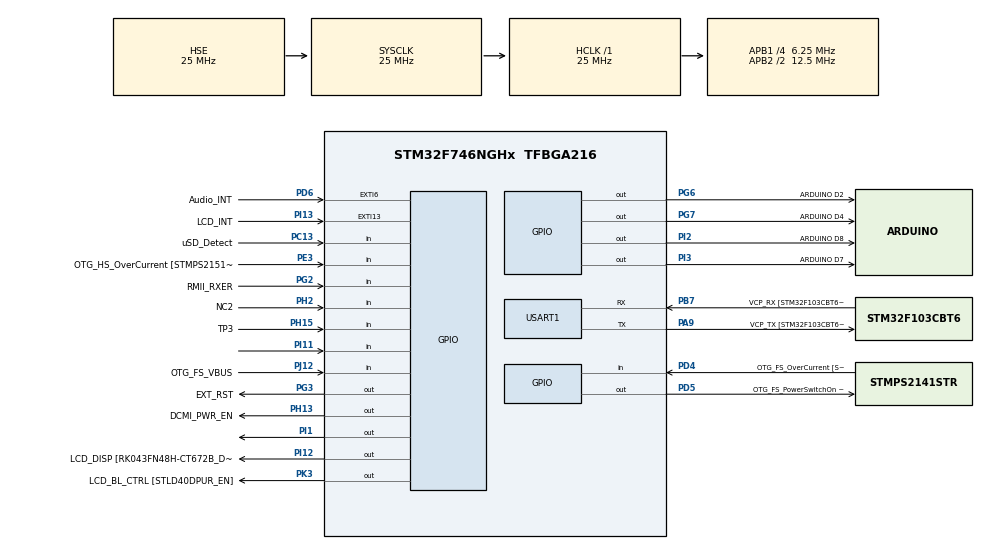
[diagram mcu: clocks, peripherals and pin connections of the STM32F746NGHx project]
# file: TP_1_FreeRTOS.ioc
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FREERTOS.Tasks01=defaultTask,0,256,StartDefaultTask,Default,NULL,Dynamic,NULL,NULL
FREERTOS.configTOTAL_HEAP_SIZE=15400
FREERTOS.configUSE_PREEMPTION=1
Mcu.Family=STM32F7
Mcu.Name=STM32F746NGHx
Mcu.Package=TFBGA216
NVIC.PriorityGroup=NVIC_PRIORITYGROUP_4
NVIC.USART1_IRQn=true\:5\:0\:false\:false\:true\:true\:true\:true\:true
PA0/WKUP.GPIO_Label=ARDUINO A0
PA0/WKUP.GPIO_Mode=GPIO_MODE_ANALOG
PA0/WKUP.GPIO_PuPd=GPIO_NOPULL
PA0/WKUP.Signal=ADCx_IN0
PA1.GPIO_Label=RMII_REF_CLK [LAN8742A-CZ-TR_REFCLK0]
PA1.Signal=ETH_REF_CLK
PA10.GPIO_Label=OTG_FS_ID
PA10.Signal=USB_OTG_FS_ID
PA11.GPIO_Label=OTG_FS_N
PA11.Signal=USB_OTG_FS_DM
PA12.GPIO_Label=OTG_FS_P
PA12.Signal=USB_OTG_FS_DP
PA13.GPIO_Label=SWDIO
PA13.Signal=SYS_JTMS-SWDIO
PA14.GPIO_Label=SWCLK
PA14.Signal=SYS_JTCK-SWCLK
PA15.GPIO_Label=ARDUINO PWM/D9
PA15.GPIO_ModeDefaultPP=GPIO_MODE_AF_PP
PA15.GPIO_PuPd=GPIO_NOPULL
PA15.GPIO_Speed=GPIO_SPEED_FREQ_LOW
PA15.Signal=S_TIM2_CH1_ETR
PA2.GPIO_Label=RMII_MDIO [LAN8742A-CZ-TR_MDIO]
PA2.Signal=ETH_MDIO
PA3.GPIO_Label=ULPI_D0 [USB3320C-EZK_D0]
PA3.Signal=USB_OTG_HS_ULPI_D0
PA4.GPIO_Label=DCMI_HSYNC
PA4.Signal=DCMI_HSYNC
PA5.GPIO_Label=ULPI_CLK [USB3320C-EZK_CLKOUT]
PA5.Signal=USB_OTG_HS_ULPI_CK
PA6.Signal=DCMI_PIXCLK
PA7.GPIO_Label=RMII_CRS_DV [LAN8742A-CZ-TR_CRS_DV]
PA7.Signal=ETH_CRS_DV
PA8.GPIO_Label=ARDUINO PWM/D10
PA8.GPIO_ModeDefaultPP=GPIO_MODE_AF_PP
PA8.GPIO_PuPd=GPIO_NOPULL
PA8.GPIO_Speed=GPIO_SPEED_FREQ_LOW
PA8.Signal=S_TIM1_CH1
PA9.GPIO_Label=VCP_TX [STM32F103CBT6_PA3]
PA9.GPIO_Mode=GPIO_MODE_AF_PP
PA9.GPIO_PuPd=GPIO_NOPULL
PA9.GPIO_Speed=GPIO_SPEED_FREQ_LOW
PA9.Mode=Asynchronous
PA9.Signal=USART1_TX
PB0.GPIO_Label=ULPI_D1 [USB3320C-EZK_D1]
PB0.Signal=USB_OTG_HS_ULPI_D1
PB1.GPIO_Label=ULPI_D2 [USB3320C-EZK_D2]
PB1.Signal=USB_OTG_HS_ULPI_D2
PB10.GPIO_Label=ULPI_D3 [USB3320C-EZK_D3]
PB10.Signal=USB_OTG_HS_ULPI_D3
PB11.GPIO_Label=ULPI_D4 [USB3320C-EZK_D4]
PB11.Signal=USB_OTG_HS_ULPI_D4
PB12.GPIO_Label=ULPI_D5 [USB3320C-EZK_D5]
PB12.Signal=USB_OTG_HS_ULPI_D5
PB13.GPIO_Label=ULPI_D6 [USB3320C-EZK_D6]
PB13.Signal=USB_OTG_HS_ULPI_D6
PB14.GPIO_Label=ARDUINO MISO/D12
PB14.GPIO_Mode=GPIO_MODE_AF_PP
PB14.GPIO_PuPd=GPIO_NOPULL
PB14.GPIO_Speed=GPIO_SPEED_FREQ_LOW
PB14.Signal=SPI2_MISO
PB15.GPIO_Label=ARDUINO MOSI/PWM/D11
PB15.GPIO_Mode=GPIO_MODE_AF_PP
PB15.GPIO_PuPd=GPIO_NOPULL
PB15.GPIO_Speed=GPIO_SPEED_FREQ_LOW
PB15.Signal=SPI2_MOSI
PB2.Signal=QUADSPI_CLK
PB3.GPIO_Label=SWO
PB3.Signal=SYS_JTDO-SWO
PB4.GPIO_Label=ARDUINO PWM/D3
PB4.GPIO_ModeDefaultPP=GPIO_MODE_AF_PP
PB4.GPIO_PuPd=GPIO_NOPULL
PB4.GPIO_Speed=GPIO_SPEED_FREQ_LOW
PB4.Signal=S_TIM3_CH1
PB5.GPIO_Label=ULPI_D7 [USB3320C-EZK_D7]
PB5.Signal=USB_OTG_HS_ULPI_D7
PB6.GPIO_Label=QSPI_NCS [N25Q128A13EF840E_S]
PB6.Signal=QUADSPI_BK1_NCS
PB7.GPIO_Label=VCP_RX [STM32F103CBT6_PA2]
PB7.GPIO_Mode=GPIO_MODE_AF_PP
PB7.GPIO_PuPd=GPIO_NOPULL
PB7.GPIO_Speed=GPIO_SPEED_FREQ_LOW
PB7.Mode=Asynchronous
PB7.Signal=USART1_RX
PB8.GPIO_Label=ARDUINO SCL/D15
PB8.GPIO_Mode=GPIO_MODE_AF_OD
PB8.GPIO_PuPd=GPIO_NOPULL
PB8.GPIO_Speed=GPIO_SPEED_FREQ_LOW
PB8.Signal=I2C1_SCL
PB9.GPIO_Label=ARDUINO SDA/D14
PB9.GPIO_Mode=GPIO_MODE_AF_OD
PB9.GPIO_PuPd=GPIO_NOPULL
PB9.GPIO_Speed=GPIO_SPEED_FREQ_LOW
PB9.Signal=I2C1_SDA
PC0.GPIO_Label=ULPI_STP [USB3320C-EZK_STP]
PC0.Signal=USB_OTG_HS_ULPI_STP
PC1.GPIO_Label=RMII_MDC [LAN8742A-CZ-TR_MDC]
PC1.Signal=ETH_MDC
PC10.GPIO_Label=SDMMC_D2
PC10.Signal=SDMMC1_D2
PC11.GPIO_Label=SDMMC_D3
PC11.Signal=SDMMC1_D3
PC12.GPIO_Label=SDMMC_CK
PC12.Signal=SDMMC1_CK
PC13.GPIO_Label=uSD_Detect
PC13.Signal=GPIO_Input
PC14/OSC32_IN.GPIO_Label=RCC_OSC32_IN
PC14/OSC32_IN.Signal=RCC_OSC32_IN
PC15/OSC32_OUT.GPIO_Label=RCC_OSC32_OUT
PC15/OSC32_OUT.Signal=RCC_OSC32_OUT
PC2.GPIO_Label=ULPI_DIR [USB3320C-EZK_DIR]
PC2.Signal=USB_OTG_HS_ULPI_DIR
PC3.GPIO_Label=FMC_SDCKE0 [MT48LC4M32B2B5-6A_CKE]
PC3.Signal=FMC_SDCKE0
PC4.GPIO_Label=RMII_RXD0 [LAN8742A-CZ-TR_RXD0]
PC4.Signal=ETH_RXD0
PC5.GPIO_Label=RMII_RXD1 [LAN8742A-CZ-TR_RXD1]
PC5.Signal=ETH_RXD1
PC6.GPIO_Label=ARDUINO TX/D1
PC6.Signal=USART6_TX
PC7.GPIO_Label=ARDUINO RX/D0
PC7.Signal=USART6_RX
PC8.Signal=SDMMC1_D0
PC9.Signal=SDMMC1_D1
PD0.GPIO_Label=FMC_D2 [MT48LC4M32B2B5-6A_DQ2]
PD0.Signal=FMC_D2_DA2
PD1.GPIO_Label=FMC_D3 [MT48LC4M32B2B5-6A_DQ3]
PD1.Signal=FMC_D3_DA3
PD10.GPIO_Label=FMC_D15 [MT48LC4M32B2B5-6A_DQ15]
PD10.Signal=FMC_D15_DA15
PD11.GPIO_Label=QSPI_D0 [N25Q128A13EF840E_DQ0]
PD11.Signal=QUADSPI_BK1_IO0
PD12.GPIO_Label=QSPI_D1 [N25Q128A13EF840E_DQ1]
PD12.Signal=QUADSPI_BK1_IO1
PD13.GPIO_Label=QSPI_D3 [N25Q128A13EF840E_DQ3]
PD13.Signal=QUADSPI_BK1_IO3
PD14.GPIO_Label=FMC_D0 [MT48LC4M32B2B5-6A_DQ0]
PD14.Signal=FMC_D0_DA0
PD15.GPIO_Label=FMC_D1 [MT48LC4M32B2B5-6A_DQ1]
PD15.Signal=FMC_D1_DA1
PD2.GPIO_Label=SDMMC_D0
PD2.Signal=SDMMC1_CMD
PD3.GPIO_Label=DCMI_D5
PD3.Signal=DCMI_D5
PD4.GPIO_Label=OTG_FS_OverCurrent [STMPS2141STR_Fault]
PD4.Signal=GPIO_Input
PD5.GPIO_Label=OTG_FS_PowerSwitchOn [STMPS2141STR_EN]
PD5.PinState=GPIO_PIN_SET
PD5.Signal=GPIO_Output
PD6.GPIO_Label=Audio_INT
PD6.GPIO_ModeDefaultEXTI=GPIO_MODE_EVT_RISING
PD6.Signal=GPXTI6
PD7.GPIO_Label=SPDIF_RX0 [74LVC1G04SE_4]
PD7.Signal=SPDIFRX_IN0
PD8.GPIO_Label=FMC_D13 [MT48LC4M32B2B5-6A_DQ13]
PD8.Signal=FMC_D13_DA13
PD9.GPIO_Label=FMC_D14 [MT48LC4M32B2B5-6A_DQ14]
PD9.Signal=FMC_D14_DA14
PE0.GPIO_Label=FMC_NBL0 [MT48LC4M32B2B5-6A_DQM0]
PE0.Signal=FMC_NBL0
PE1.GPIO_Label=FMC_NBL1 [MT48LC4M32B2B5-6A_DQM1]
PE1.Signal=FMC_NBL1
PE10.GPIO_Label=FMC_D7 [MT48LC4M32B2B5-6A_DQ7]
PE10.Signal=FMC_D7_DA7
PE11.GPIO_Label=FMC_D8 [MT48LC4M32B2B5-6A_DQ8]
PE11.Signal=FMC_D8_DA8
PE12.GPIO_Label=FMC_D9 [MT48LC4M32B2B5-6A_DQ9]
PE12.Signal=FMC_D9_DA9
PE13.GPIO_Label=FMC_D10 [MT48LC4M32B2B5-6A_DQ10]
PE13.Signal=FMC_D10_DA10
PE14.GPIO_Label=FMC_D11 [MT48LC4M32B2B5-6A_DQ11]
PE14.Signal=FMC_D11_DA11
PE15.GPIO_Label=FMC_D12 [MT48LC4M32B2B5-6A_DQ12]
PE15.Signal=FMC_D12_DA12
PE2.GPIO_Label=QSPI_D2 [N25Q128A13EF840E_DQ2]
PE2.Signal=QUADSPI_BK1_IO2
PE3.GPIO_Label=OTG_HS_OverCurrent [STMPS2151STR_FAULT]
PE3.Signal=GPIO_Input
PE4.GPIO_Label=LCD_B0 [RK043FN48H-CT672B_B0]
PE4.Signal=LTDC_B0
PE5.GPIO_Label=DCMI_D6
PE5.Signal=DCMI_D6
PE6.GPIO_Label=DCMI_D7
PE6.Signal=DCMI_D7
PE7.GPIO_Label=FMC_D4 [MT48LC4M32B2B5-6A_DQ4]
PE7.Signal=FMC_D4_DA4
PE8.GPIO_Label=FMC_D5 [MT48LC4M32B2B5-6A_DQ5]
PE8.Signal=FMC_D5_DA5
PE9.GPIO_Label=FMC_D6 [MT48LC4M32B2B5-6A_DQ6]
PE9.Signal=FMC_D6_DA6
PF0.GPIO_Label=FMC_A0 [MT48LC4M32B2B5-6A_A0]
PF0.Signal=FMC_A0
PF1.GPIO_Label=FMC_A1 [MT48LC4M32B2B5-6A_A1]
PF1.Signal=FMC_A1
PF10.GPIO_Label=ARDUINO A1
PF10.GPIO_Mode=GPIO_MODE_ANALOG
PF10.GPIO_PuPd=GPIO_NOPULL
PF10.Signal=ADC3_IN8
PF11.GPIO_Label=FMC_SDNRAS [MT48LC4M32B2B5-6A_RAS]
PF11.Signal=FMC_SDNRAS
PF12.GPIO_Label=FMC_A6 [MT48LC4M32B2B5-6A_A6]
PF12.Signal=FMC_A6
PF13.GPIO_Label=FMC_A7 [MT48LC4M32B2B5-6A_A7]
PF13.Signal=FMC_A7
PF14.GPIO_Label=FMC_A8 [MT48LC4M32B2B5-6A_A8]
PF14.Signal=FMC_A8
PF15.GPIO_Label=FMC_A9 [MT48LC4M32B2B5-6A_A9]
PF15.Signal=FMC_A9
PF2.GPIO_Label=FMC_A2 [MT48LC4M32B2B5-6A_A2]
PF2.Signal=FMC_A2
PF3.GPIO_Label=FMC_A3 [MT48LC4M32B2B5-6A_A3]
PF3.Signal=FMC_A3
PF4.GPIO_Label=FMC_A4 [MT48LC4M32B2B5-6A_A4]
PF4.Signal=FMC_A4
PF5.GPIO_Label=FMC_A5 [MT48LC4M32B2B5-6A_A5]
PF5.Signal=FMC_A5
PF6.GPIO_Label=ARDUINO A5
PF6.GPIO_Mode=GPIO_MODE_ANALOG
PF6.GPIO_PuPd=GPIO_NOPULL
PF6.Signal=ADC3_IN4
PF7.GPIO_Label=ARDUINO A4
PF7.GPIO_Mode=GPIO_MODE_ANALOG
PF7.GPIO_PuPd=GPIO_NOPULL
PF7.Signal=ADC3_IN5
PF8.GPIO_Label=ARDUINO A3
PF8.GPIO_Mode=GPIO_MODE_ANALOG
PF8.GPIO_PuPd=GPIO_NOPULL
PF8.Signal=ADC3_IN6
PF9.GPIO_Label=ARDUINO A2
PF9.GPIO_Mode=GPIO_MODE_ANALOG
PF9.GPIO_PuPd=GPIO_NOPULL
PF9.Signal=ADC3_IN7
PG0.GPIO_Label=FMC_A10 [MT48LC4M32B2B5-6A_A10]
PG0.Signal=FMC_A10
PG1.GPIO_Label=FMC_A11 [MT48LC4M32B2B5-6A_A11]
PG1.Signal=FMC_A11
PG10.GPIO_Label=SAI2_SDB [WM8994ECS/R_ADCDAT1]
PG10.Signal=SAI2_SD_B
PG11.GPIO_Label=RMII_TX_EN [LAN8742A-CZ-TR_TXEN]
PG11.Signal=ETH_TX_EN
PG12.GPIO_Label=LCD_B4 [RK043FN48H-CT672B_B4]
PG12.Signal=LTDC_B4
PG13.GPIO_Label=RMII_TXD0 [LAN8742A-CZ-TR_TXD0]
PG13.Signal=ETH_TXD0
PG14.GPIO_Label=RMII_TXD1 [LAN8742A-CZ-TR_TXD1]
PG14.Signal=ETH_TXD1
PG15.GPIO_Label=FMC_SDNCAS [MT48LC4M32B2B5-6A_CAS]
PG15.Signal=FMC_SDNCAS
PG2.GPIO_Label=RMII_RXER
PG2.Signal=GPIO_Input
PG3.GPIO_Label=EXT_RST
PG3.Signal=GPIO_Output
PG4.GPIO_Label=FMC_BA0 [MT48LC4M32B2B5-6A_BA0]
PG4.Signal=FMC_A14_BA0
PG5.GPIO_Label=FMC_BA1 [MT48LC4M32B2B5-6A_BA1]
PG5.Signal=FMC_A15_BA1
PG6.GPIO_Label=ARDUINO D2
PG6.Signal=GPIO_Output
PG7.GPIO_Label=ARDUINO D4
PG7.Signal=GPIO_Output
PG8.GPIO_Label=FMC_SDCLK [MT48LC4M32B2B5-6A_CLK]
PG8.Signal=FMC_SDCLK
PG9.GPIO_Label=DCMI_VSYNC
PG9.Signal=DCMI_VSYNC
PH0/OSC_IN.GPIO_Label=OSC_25M [NZ2520SB-25.00M_OUT]
PH0/OSC_IN.Mode=HSE-External-Oscillator
PH0/OSC_IN.Signal=RCC_OSC_IN
PH1/OSC_OUT.Mode=HSE-External-Oscillator
PH1/OSC_OUT.Signal=RCC_OSC_OUT
PH10.GPIO_Label=DCMI_D1
PH10.Signal=DCMI_D1
PH11.GPIO_Label=DCMI_D2
PH11.Signal=DCMI_D2
PH12.GPIO_Label=DCMI_D3
PH12.Signal=DCMI_D3
PH13.GPIO_Label=DCMI_PWR_EN
PH13.Signal=GPIO_Output
PH14.GPIO_Label=DCMI_D4
PH14.Signal=DCMI_D4
PH15.GPIO_Label=TP3
PH15.Signal=GPIO_Input
PH2.GPIO_Label=NC2
PH2.Signal=GPIO_Input
PH3.GPIO_Label=FMC_SDNE0 [MT48LC4M32B2B5-6A_CS]
PH3.Signal=FMC_SDNE0
PH4.GPIO_Label=ULPI_NXT [USB3320C-EZK_NXT]
PH4.Signal=USB_OTG_HS_ULPI_NXT
PH5.GPIO_Label=FMC_SDNME [MT48LC4M32B2B5-6A_WE]
PH5.Signal=FMC_SDNWE
PH6.GPIO_Label=ARDUINO PWM/D6
PH6.Signal=S_TIM12_CH1
PH7.GPIO_Label=LCD_SCL [RK043FN48H-CT672B_SCL]
PH7.Signal=I2C3_SCL
PH8.GPIO_Label=LCD_SDA [RK043FN48H-CT672B_SDA]
PH8.Signal=I2C3_SDA
PH9.GPIO_Label=DCMI_D0
PH9.Signal=DCMI_D0
PI0.GPIO_Label=ARDUINO PWM/CS/D5
PI0.GPIO_ModeDefaultPP=GPIO_MODE_AF_PP
PI0.GPIO_PuPd=GPIO_NOPULL
PI0.GPIO_Speed=GPIO_SPEED_FREQ_LOW
PI0.Signal=S_TIM5_CH4
PI1.Signal=GPIO_Output
PI10.GPIO_Label=LCD_HSYNC [RK043FN48H-CT672B_HSYNC]
PI10.Signal=LTDC_HSYNC
PI11.Signal=GPIO_Input
PI12.GPIO_Label=LCD_DISP [RK043FN48H-CT672B_DISP] 
PI12.Signal=GPIO_Output
PI13.GPIO_Label=LCD_INT
PI13.GPIO_ModeDefaultEXTI=GPIO_MODE_EVT_RISING
PI13.Signal=GPXTI13
PI14.GPIO_Label=LCD_CLK [RK043FN48H-CT672B_CLK]
PI14.Signal=LTDC_CLK
PI15.GPIO_Label=LCD_R0 [RK043FN48H-CT672B_R0]
PI15.Signal=LTDC_R0
PI2.GPIO_Label=ARDUINO D8
PI2.Signal=GPIO_Output
PI3.GPIO_Label=ARDUINO D7
PI3.Signal=GPIO_Output
PI4.GPIO_Label=SAI2_MCLKA [WM8994ECS/R_MCLK1]
PI4.Signal=SAI2_MCLK_A
PI5.GPIO_Label=SAI2_SCKA [WM8994ECS/R_BCLK1]
PI5.Signal=SAI2_SCK_A
PI6.GPIO_Label=SAI2_SDA [WM8994ECS/R_DACDAT1]
PI6.Signal=SAI2_SD_A
PI7.GPIO_Label=SAI2_FSA [WM8994ECS/R_LRCLK1]
PI7.Signal=SAI2_FS_A
PI8.GPIO_Label=NC1 [TP2]
PI8.Signal=RTC_TS
PI9.GPIO_Label=LCD_VSYNC [RK043FN48H-CT672B_VSYNC]
PI9.Signal=LTDC_VSYNC
PJ0.GPIO_Label=LCD_R1 [RK043FN48H-CT672B_R1]
PJ0.Signal=LTDC_R1
PJ1.GPIO_Label=LCD_R2 [RK043FN48H-CT672B_R2]
PJ1.Signal=LTDC_R2
PJ10.GPIO_Label=LCD_G3 [RK043FN48H-CT672B_G3]
PJ10.Signal=LTDC_G3
PJ11.GPIO_Label=LCD_G4 [RK043FN48H-CT672B_G4]
PJ11.Signal=LTDC_G4
PJ12.GPIO_Label=OTG_FS_VBUS
PJ12.Signal=GPIO_Input
PJ13.GPIO_Label=LCD_B1 [RK043FN48H-CT672B_B1]
PJ13.Signal=LTDC_B1
PJ14.GPIO_Label=LCD_B2 [RK043FN48H-CT672B_B2]
PJ14.Signal=LTDC_B2
PJ15.GPIO_Label=LCD_B3 [RK043FN48H-CT672B_B3]
PJ15.Signal=LTDC_B3
PJ2.GPIO_Label=LCD_R3 [RK043FN48H-CT672B_R3]
PJ2.Signal=LTDC_R3
PJ3.GPIO_Label=LCD_R4 [RK043FN48H-CT672B_R4]
PJ3.Signal=LTDC_R4
PJ4.GPIO_Label=LCD_R5 [RK043FN48H-CT672B_R5]
PJ4.Signal=LTDC_R5
PJ5.GPIO_Label=LCD_R6 [RK043FN48H-CT672B_R6]
PJ5.Signal=LTDC_R6
PJ6.GPIO_Label=LCD_R7 [RK043FN48H-CT672B_R7]
PJ6.Signal=LTDC_R7
PJ7.GPIO_Label=LCD_G0 [RK043FN48H-CT672B_G0]
PJ7.Signal=LTDC_G0
PJ8.GPIO_Label=LCD_G1 [RK043FN48H-CT672B_G1]
PJ8.Signal=LTDC_G1
PJ9.GPIO_Label=LCD_G2 [RK043FN48H-CT672B_G2]
PJ9.Signal=LTDC_G2
PK0.GPIO_Label=LCD_G5 [RK043FN48H-CT672B_G5]
PK0.Signal=LTDC_G5
PK1.GPIO_Label=LCD_G6 [RK043FN48H-CT672B_G6]
PK1.Signal=LTDC_G6
PK2.GPIO_Label=LCD_G7 [RK043FN48H-CT672B_G7]
PK2.Signal=LTDC_G7
PK3.GPIO_Label=LCD_BL_CTRL [STLD40DPUR_EN]
PK3.Signal=GPIO_Output
PK4.GPIO_Label=LCD_B5 [RK043FN48H-CT672B_B5]
PK4.Signal=LTDC_B5
PK5.GPIO_Label=LCD_B6 [RK043FN48H-CT672B_B6]
PK5.Signal=LTDC_B6
PK6.GPIO_Label=LCD_B7 [RK043FN48H-CT672B_B7]
PK6.Signal=LTDC_B7
PK7.GPIO_Label=LCD_DE [RK043FN48H-CT672B_DE]
PK7.Signal=LTDC_DE
ProjectManager.HeapSize=0x200
ProjectManager.StackSize=0x400
ProjectManager.TargetToolchain=CMake
RCC.AHBFreq_Value=25000000
RCC.APB1CLKDivider=RCC_HCLK_DIV4
RCC.APB1Freq_Value=6250000
RCC.APB1TimFreq_Value=12500000
RCC.APB2CLKDivider=RCC_HCLK_DIV2
RCC.APB2Freq_Value=12500000
RCC.APB2TimFreq_Value=25000000
RCC.CortexFreq_Value=25000000
RCC.HCLKFreq_Value=25000000
RCC.HSE_VALUE=25000000
RCC.HSI_VALUE=16000000
RCC.LSE_VALUE=32768
RCC.PLLM=10
RCC.PLLN=210
RCC.PLLSourceVirtual=RCC_PLLSOURCE_HSE
RCC.SYSCLKFreq_VALUE=25000000
RCC.SYSCLKSource=RCC_SYSCLKSOURCE_HSE
RCC.USBFreq_Value=262500000
RCC.VCOOutputFreq_Value=525000000
SH.ADCx_IN0.0=ADC3_IN0
SH.FMC_A0.0=FMC_A0
SH.FMC_A1.0=FMC_A1
SH.FMC_A10.0=FMC_A10
SH.FMC_A11.0=FMC_A11
SH.FMC_A14_BA0.0=FMC_BA0
SH.FMC_A15_BA1.0=FMC_BA1
SH.FMC_A2.0=FMC_A2
SH.FMC_A3.0=FMC_A3
SH.FMC_A4.0=FMC_A4
SH.FMC_A5.0=FMC_A5
SH.FMC_A6.0=FMC_A6
SH.FMC_A7.0=FMC_A7
SH.FMC_A8.0=FMC_A8
SH.FMC_A9.0=FMC_A9
SH.FMC_D0_DA0.0=FMC_D0
SH.FMC_D10_DA10.0=FMC_D10
SH.FMC_D11_DA11.0=FMC_D11
SH.FMC_D12_DA12.0=FMC_D12
SH.FMC_D13_DA13.0=FMC_D13
SH.FMC_D14_DA14.0=FMC_D14
SH.FMC_D15_DA15.0=FMC_D15
SH.FMC_D1_DA1.0=FMC_D1
SH.FMC_D2_DA2.0=FMC_D2
SH.FMC_D3_DA3.0=FMC_D3
SH.FMC_D4_DA4.0=FMC_D4
SH.FMC_D5_DA5.0=FMC_D5
SH.FMC_D6_DA6.0=FMC_D6
SH.FMC_D7_DA7.0=FMC_D7
SH.FMC_D8_DA8.0=FMC_D8
SH.FMC_D9_DA9.0=FMC_D9
SH.FMC_NBL0.0=FMC_NBL0
SH.FMC_NBL1.0=FMC_NBL1
SH.FMC_SDCLK.0=FMC_SDCLK
SH.FMC_SDNCAS.0=FMC_SDNCAS
SH.FMC_SDNRAS.0=FMC_SDNRAS
SH.FMC_SDNWE.0=FMC_SDNWE
SH.S_TIM12_CH1.0=TIM12_CH1
SH.S_TIM1_CH1.0=TIM1_CH1
SH.S_TIM2_CH1_ETR.0=TIM2_CH1
SH.S_TIM3_CH1.0=TIM3_CH1
SH.S_TIM5_CH4.0=TIM5_CH4
USART1.VirtualMode-Asynchronous=VM_ASYNC
VP_FREERTOS_VS_CMSIS_V1.Mode=CMSIS_V1
board=STM32F746G-DISCO

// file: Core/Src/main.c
/* USER CODE BEGIN Header */
/**
  ******************************************************************************
  * @file           : main.c
  * @brief          : Main program body
  ******************************************************************************
  * @attention
  *
  * Copyright (c) 2026 STMicroelectronics.
  * All rights reserved.
  *
  * This software is licensed under terms that can be found in the LICENSE file
  * in the root directory of this software component.
  * If no LICENSE file comes with this software, it is provided AS-IS.
  *
  ******************************************************************************
  */
/* USER CODE END Header */
#include "main.h"
#include "cmsis_os.h"
#include "usart.h"
#include "gpio.h"

/* USER CODE BEGIN Includes */
#include <stdio.h>
#include <string.h>
#include "FreeRTOS.h"
#include "task.h"
#include "semphr.h"
#include "shell.h"

#define STACK_SIZE 256
#define TASK1_PRIORITY 1
#define TASK2_PRIORITY 2
#define TASK1_DELAY 1
#define TASK2_DELAY 2
#define SPAM_MSG_SIZE 64
/* USER CODE END Includes */

/* USER CODE BEGIN PV */

// SemaphoreHandle_t xSemaphore = NULL;

//TaskHandle_t taskTakeHandle = NULL;

// QueueHandle_t xQueue = NULL;

QueueHandle_t shellQueue;

SemaphoreHandle_t xPrintMutex;

uint32_t led_period = 0;

TaskHandle_t ledTaskHandle = NULL;

BaseType_t ret;

char spam_msg[SPAM_MSG_SIZE];
uint32_t spam_count = 0;

/* USER CODE END PV */

void SystemClock_Config(void);
void MX_FREERTOS_Init(void);

/* USER CODE BEGIN 0 */
int __io_putchar(int ch) {
	HAL_UART_Transmit(&huart1, (uint8_t *)&ch, 1, HAL_MAX_DELAY);
	return ch;
}

void led_task(void *arg)
{

//Suspend() et resume()

    for (;;)
    {
        if (led_period == 0)
        {
            HAL_GPIO_WritePin(GPIOI, GPIO_PIN_1, GPIO_PIN_RESET);
            vTaskDelay(10);
        }
        else
        {
            HAL_GPIO_TogglePin(GPIOI, GPIO_PIN_1);
            vTaskDelay(pdMS_TO_TICKS(led_period));
        }
    }
}

void spam_task(void *arg)
{
    for (;;)
    {
        if (spam_count > 0)
        {
            xSemaphoreTake(xPrintMutex, portMAX_DELAY);
            printf("%s\r\n", spam_msg);
            xSemaphoreGive(xPrintMutex);

            spam_count--;
        }

        /* Période d'émission (ex: capteur) */
        vTaskDelay(pdMS_TO_TICKS(200));
    }
}

/* USER CODE END 0 */

int main(void)
{

  /* MCU Configuration--------------------------------------------------------*/

  /* Reset of all peripherals, Initializes the Flash interface and the Systick. */
  HAL_Init();

  /* Configure the system clock */
  SystemClock_Config();

  /* Initialize all configured peripherals */
  MX_GPIO_Init();
  MX_USART1_UART_Init();
  /* USER CODE BEGIN 2 */
  __HAL_UART_ENABLE_IT(&huart1, UART_IT_RXNE);

  //Mutex :

  xPrintMutex = xSemaphoreCreateMutex();
  configASSERT(xPrintMutex != NULL);

  shellQueue = xQueueCreate(64, sizeof(char));
  configASSERT(shellQueue != NULL);

  shell_init();

  // tasks :
   xTaskCreate(shell_task, "shell", 512, NULL, 3, NULL);

   xTaskCreate(led_task, "led", 256, NULL, 2, &ledTaskHandle);

   xTaskCreate(spam_task, "spam", 256, NULL, 2, NULL);

   vTaskStartScheduler();
  /* USER CODE END 2 */

  /* Call init function for freertos objects (in cmsis_os2.c) */
 // MX_FREERTOS_Init();

  /* Start scheduler */
 // osKernelStart();

  /* We should never get here as control is now taken by the scheduler */

  /* Infinite loop */
  while (1)
  {

  }
}

void SystemClock_Config(void)
{
  RCC_OscInitTypeDef RCC_OscInitStruct = {0};
  RCC_ClkInitTypeDef RCC_ClkInitStruct = {0};

  /** Configure the main internal regulator output voltage
  */
  __HAL_RCC_PWR_CLK_ENABLE();
  __HAL_PWR_VOLTAGESCALING_CONFIG(PWR_REGULATOR_VOLTAGE_SCALE3);

  /** Initializes the RCC Oscillators according to the specified parameters
  * in the RCC_OscInitTypeDef structure.
  */
  RCC_OscInitStruct.OscillatorType = RCC_OSCILLATORTYPE_HSE;
  RCC_OscInitStruct.HSEState = RCC_HSE_ON;
  RCC_OscInitStruct.PLL.PLLState = RCC_PLL_NONE;
  if (HAL_RCC_OscConfig(&RCC_OscInitStruct) != HAL_OK)
  {
    Error_Handler();
  }

  /** Initializes the CPU, AHB and APB buses clocks
  */
  RCC_ClkInitStruct.ClockType = RCC_CLOCKTYPE_HCLK|RCC_CLOCKTYPE_SYSCLK
                              |RCC_CLOCKTYPE_PCLK1|RCC_CLOCKTYPE_PCLK2;
  RCC_ClkInitStruct.SYSCLKSource = RCC_SYSCLKSOURCE_HSE;
  RCC_ClkInitStruct.AHBCLKDivider = RCC_SYSCLK_DIV1;
  RCC_ClkInitStruct.APB1CLKDivider = RCC_HCLK_DIV4;
  RCC_ClkInitStruct.APB2CLKDivider = RCC_HCLK_DIV2;

  if (HAL_RCC_ClockConfig(&RCC_ClkInitStruct, FLASH_LATENCY_0) != HAL_OK)
  {
    Error_Handler();
  }
}

void Error_Handler(void)
{
  __disable_irq();
  while (1)
  {
  }
}
